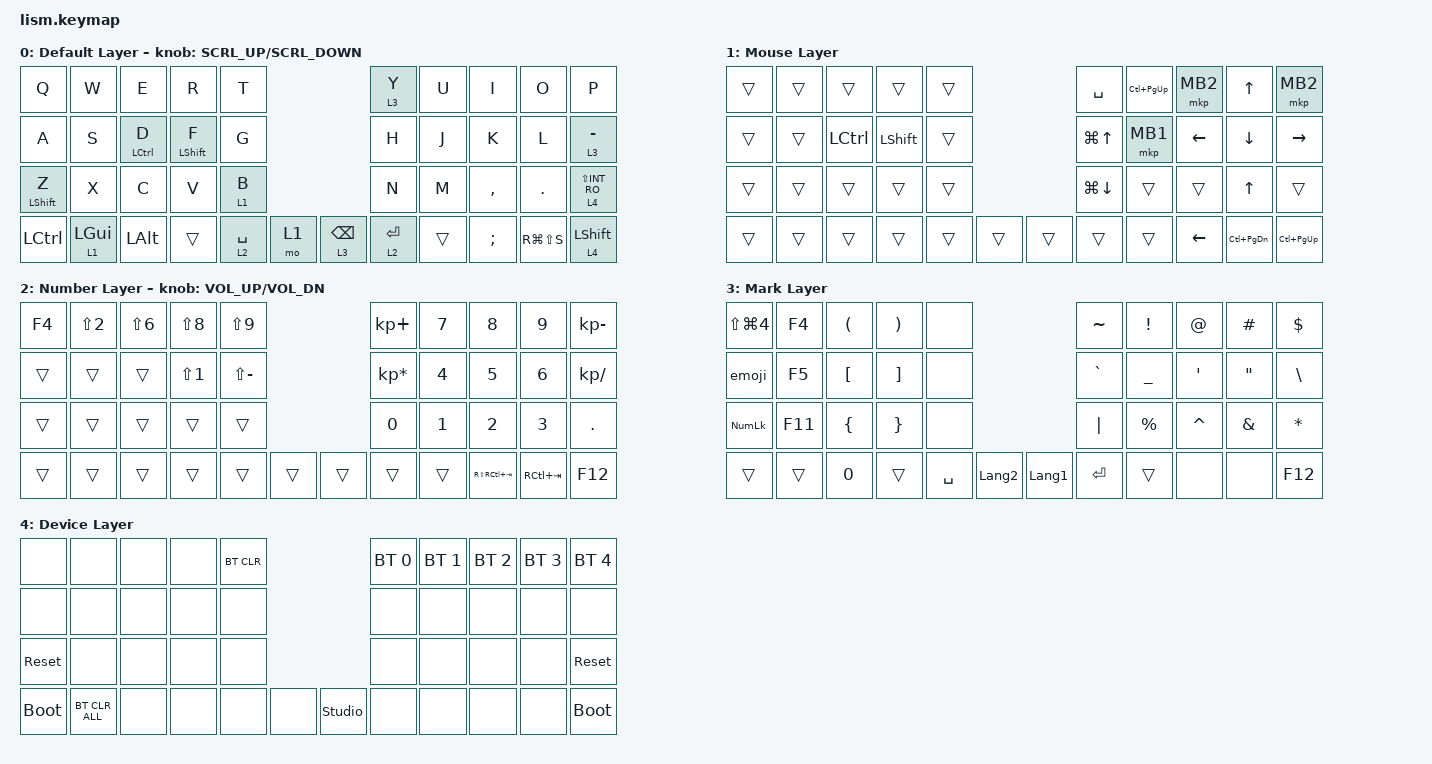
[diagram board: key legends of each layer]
#define ZMK_POINTING_DEFAULT_SCRL_VAL 200

#include <dt-bindings/zmk/mouse.h>
#include <behaviors.dtsi>
#include <dt-bindings/zmk/bt.h>
#include <dt-bindings/zmk/keys.h>
#include <dt-bindings/zmk/pointing.h>

&mt {
    tapping-term-ms = <300>;
    flavor = "balanced";
};

&lt { quick-tap-ms = <300>; };

/ {
    macros {
        emoji: emoji_macro {
            compatible = "zmk,behavior-macro";
            label = "EMOJI";
            #binding-cells = <0>;
            bindings =
                <&macro_press>,
                <&kp CAPSLOCK>,
                <&macro_tap>,
                <&kp E>,
                <&macro_release>,
                <&kp CAPSLOCK>;
        };
    };

    behaviors {
        encoder_msc: sensor_rotate_msc {
            compatible = "zmk,behavior-sensor-rotate-var";
            #sensor-binding-cells = <2>;
            bindings = <&msc>, <&msc>;

            tap-ms = <20>;
        };

        encoder_kp: sensor_rotate_kp {
            compatible = "zmk,behavior-sensor-rotate-var";
            #sensor-binding-cells = <2>;
            bindings = <&kp>, <&kp>;
        };
    };

    combos {
        compatible = "zmk,combos";

        esc {
            bindings = <&kp ESCAPE>;
            key-positions = <0 1>;
        };

        tab {
            bindings = <&kp TAB>;
            key-positions = <10 11>;
        };

        del {
            bindings = <&kp DELETE>;
            key-positions = <8 9>;
        };
    };

    keymap {
        compatible = "zmk,keymap";

        default_layer {
            display-name = "Default Layer";
            bindings = <
&kp Q             &kp W           &kp E               &kp R             &kp T                                  &lt 3 Y      &kp U   &kp I          &kp O          &kp P
&kp A             &kp S           &mt LEFT_CONTROL D  &mt LEFT_SHIFT F  &kp G                                  &kp H        &kp J   &kp K          &kp L          &lt 3 MINUS
&mt LEFT_SHIFT Z  &kp X           &kp C               &kp V             &lt 1 B                                &kp N        &kp M   &kp COMMA      &kp DOT        &lt 4 LS(INT_RO)
&kp LEFT_CONTROL  &lt 1 LEFT_GUI  &kp LEFT_ALT        &trans            &lt 2 SPACE  &mo 1    &lt 3 BACKSPACE  &lt 2 ENTER  &trans  &kp SEMICOLON  &kp RG(LS(S))  &lt 4 LEFT_SHIFT
            >;

            sensor-bindings = <&encoder_msc SCRL_UP SCRL_DOWN>;
        };

        layer_1 {
            display-name = "Mouse Layer";
            bindings = <
&trans  &trans  &trans            &trans          &trans                    &kp SPACE     &kp LC(PAGE_UP)  &mkp MB2        &kp UP_ARROW       &mkp MB2
&trans  &trans  &kp LEFT_CONTROL  &kp LEFT_SHIFT  &trans                    &kp LG(UP)    &mkp MB1         &kp LEFT_ARROW  &kp DOWN_ARROW     &kp RIGHT_ARROW
&trans  &trans  &trans            &trans          &trans                    &kp LG(DOWN)  &trans           &trans          &kp UP_ARROW       &trans
&trans  &trans  &trans            &trans          &trans  &trans    &trans  &trans        &trans           &kp LEFT_ARROW  &kp LC(PAGE_DOWN)  &kp LC(PAGE_UP)
            >;
        };

        layer_2 {
            display-name = "Number Layer";
            bindings = <
&kp F4  &kp LS(NUMBER_2)  &kp LS(NUMBER_6)  &kp LS(N8)        &kp LS(NUMBER_9)                    &kp KP_PLUS      &kp N7  &kp N8           &kp N9       &kp KP_MINUS
&trans  &trans            &trans            &kp LS(NUMBER_1)  &kp LS(MINUS)                       &kp KP_MULTIPLY  &kp N4  &kp N5           &kp N6       &kp KP_SLASH
&trans  &trans            &trans            &trans            &trans                              &kp N0           &kp N1  &kp N2           &kp N3       &kp DOT
&trans  &trans            &trans            &trans            &trans            &trans    &trans  &trans           &trans  &kp RS(RC(TAB))  &kp RC(TAB)  &kp F12
            >;

            sensor-bindings = <&encoder_kp C_VOL_UP C_VOL_DN>;
        };

        layer_3 {
            display-name = "Mark Layer";
            bindings = <
&kp LS(LG(N4))  &kp F4   &kp LEFT_PARENTHESIS  &kp RIGHT_PARENTHESIS  &none                                        &kp TILDE  &kp EXCLAMATION  &kp AT_SIGN       &kp HASH           &kp DOLLAR
&emoji          &kp F5   &kp LEFT_BRACKET      &kp RIGHT_BRACKET      &none                                        &kp GRAVE  &kp UNDER        &kp SINGLE_QUOTE  &kp DOUBLE_QUOTES  &kp BACKSLASH
&kp KP_NUMLOCK  &kp F11  &kp LEFT_BRACE        &kp RIGHT_BRACE        &none                                        &kp PIPE   &kp PERCENT      &kp CARET         &kp AMPERSAND      &kp ASTERISK
&trans          &trans   &kp NUMBER_0          &trans                 &kp SPACE  &kp LANGUAGE_2    &kp LANGUAGE_1  &kp ENTER  &trans           &none             &none              &kp F12
            >;
        };

        layer_4 {
            display-name = "Device Layer";
            bindings = <
&none        &none           &none  &none  &bt BT_CLR                           &bt BT_SEL 0  &bt BT_SEL 1  &bt BT_SEL 2  &bt BT_SEL 3  &bt BT_SEL 4
&none        &none           &none  &none  &none                                &none         &none         &none         &none         &none
&sys_reset   &none           &none  &none  &none                                &none         &none         &none         &none         &sys_reset
&bootloader  &bt BT_CLR_ALL  &none  &none  &none       &none    &studio_unlock  &none         &none         &none         &none         &bootloader
            >;
        };

        layer_5 {
            status = "reserved";
            display-name = "Brank Layer";
            bindings = <
&trans  &trans  &trans  &trans  &trans                    &trans  &trans  &trans  &trans  &trans
&trans  &trans  &trans  &trans  &trans                    &trans  &trans  &trans  &trans  &trans
&trans  &trans  &trans  &trans  &trans                    &trans  &trans  &trans  &trans  &trans
&trans  &trans  &trans  &trans  &trans  &trans    &trans  &trans  &trans  &trans  &trans  &trans
            >;
        };

        layer_6 {
            status = "reserved";
            display-name = "Brank Layer";
            bindings = <
&trans  &trans  &trans  &trans  &trans                    &trans  &trans  &trans  &trans  &trans
&trans  &trans  &trans  &trans  &trans                    &trans  &trans  &trans  &trans  &trans
&trans  &trans  &trans  &trans  &trans                    &trans  &trans  &trans  &trans  &trans
&trans  &trans  &trans  &trans  &trans  &trans    &trans  &trans  &trans  &trans  &trans  &trans
            >;
        };

        layer_7 {
            status = "reserved";
            display-name = "Brank Layer";
            bindings = <
&trans  &trans  &trans  &trans  &trans                    &trans  &trans  &trans  &trans  &trans
&trans  &trans  &trans  &trans  &trans                    &trans  &trans  &trans  &trans  &trans
&trans  &trans  &trans  &trans  &trans                    &trans  &trans  &trans  &trans  &trans
&trans  &trans  &trans  &trans  &trans  &trans    &trans  &trans  &trans  &trans  &trans  &trans
            >;
        };
    };
};
